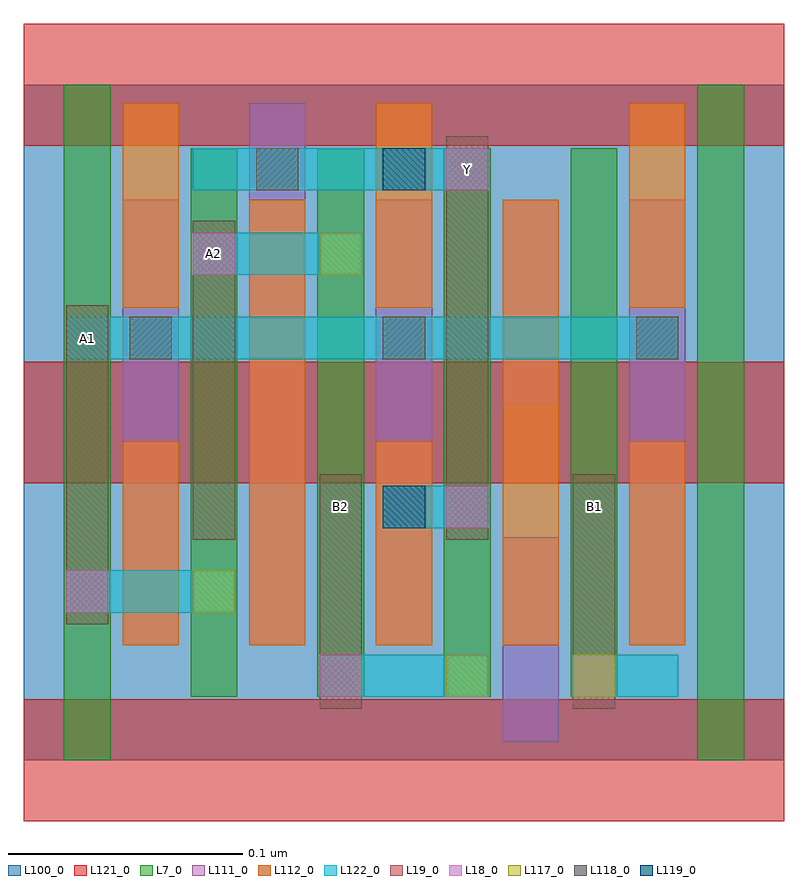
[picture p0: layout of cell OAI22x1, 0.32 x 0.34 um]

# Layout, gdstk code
import gdstk
lib = gdstk.Library(unit=1e-6, precision=2.5e-10)
def R(c, l, rs):  # rectangles x0, y0, x1, y1
    for r in rs: c.add(gdstk.rectangle(r[:2], r[2:], *l))
def A(c, l, x, y, w, h, nx, ny, dx, dy):  # array of equal rectangles
    R(c, l, [(x+i*dx, y+j*dy, x+i*dx+w, y+j*dy+h) for i in range(nx) for j in range(ny)])
L7_0 = (7, 0)
L18_0 = (18, 0)
L19_0 = (19, 0)
L100_0 = (100, 0)
L111_0 = (111, 0)
L112_0 = (112, 0)
L117_0 = (117, 0)
L118_0 = (118, 0)
L119_0 = (119, 0)
L121_0 = (121, 0)
L122_0 = (122, 0)

oai22x1 = lib.new_cell('OAI22x1')
A(oai22x1, L7_0, 0.071, 0.027, 0.02, 0.117, 4, 2, 0.054, 0.117)
R(oai22x1, L7_0, [(0.017,0,0.037,0.144), (0.287,0,0.307,0.144), (0.017,0.144,0.037,0.288), (0.287,0.144,0.307,0.288)])
R(oai22x1, L18_0, [(0.126,0.027,0.144,0.045), (0.234,0.027,0.252,0.045), (0.018,0.063,0.036,0.081), (0.18,0.099,0.198,0.117), (0.072,0.207,0.09,0.225), (0.18,0.243,0.198,0.261)])
R(oai22x1, L19_0, [(0.126,0.022,0.144,0.122), (0.234,0.022,0.252,0.122), (0.018,0.058,0.036,0.194), (0.072,0.094,0.09,0.23), (0.18,0.094,0.198,0.266)])
R(oai22x1, L100_0, [(0,0,0.324,0.288)])
A(oai22x1, L111_0, 0.042, 0.049, 0.024, 0.095, 3, 1, 0.054, 0)
A(oai22x1, L111_0, 0.042, 0.144, 0.024, 0.095, 3, 1, 0.108, 0)
R(oai22x1, L111_0, [(0.204,0.008,0.228,0.095), (0.258,0.049,0.282,0.144), (0.096,0.144,0.12,0.28), (0.204,0.152,0.228,0.239)])
A(oai22x1, L112_0, 0.042, 0.049, 0.024, 0.087, 3, 2, 0.108, 0.144)
R(oai22x1, L112_0, [(0.096,0.049,0.12,0.144), (0.204,0.049,0.228,0.144), (0.096,0.144,0.12,0.239), (0.204,0.144,0.228,0.239)])
R(oai22x1, L117_0, [(0.18,0.027,0.198,0.045), (0.234,0.027,0.252,0.045), (0.072,0.063,0.09,0.081), (0.126,0.207,0.144,0.225)])
A(oai22x1, L118_0, 0.045, 0.171, 0.018, 0.018, 3, 1, 0.108, 0)
R(oai22x1, L118_0, [(0.099,0.243,0.117,0.261)])
R(oai22x1, L119_0, [(0.153,0.099,0.171,0.117), (0.153,0.243,0.171,0.261)])
A(oai22x1, L121_0, 0, -0.026, 0.324, 0.052, 1, 3, 0, 0.144)
R(oai22x1, L122_0, [(0.126,0.027,0.198,0.045), (0.234,0.027,0.279,0.045), (0.018,0.063,0.09,0.081), (0.153,0.099,0.198,0.117), (0.018,0.171,0.279,0.189), (0.072,0.207,0.144,0.225), (0.072,0.243,0.198,0.261)])
oai22x1.add(gdstk.Label('Y', (0.189,0.252), layer=19, texttype=251))
oai22x1.add(gdstk.Label('B2', (0.135,0.108), layer=19, texttype=251))
oai22x1.add(gdstk.Label('B1', (0.243,0.108), layer=19, texttype=251))
oai22x1.add(gdstk.Label('A2', (0.081,0.216), layer=19, texttype=251))
oai22x1.add(gdstk.Label('A1', (0.027,0.18), layer=19, texttype=251))

lib.write_gds('OAI22x1.gds')
